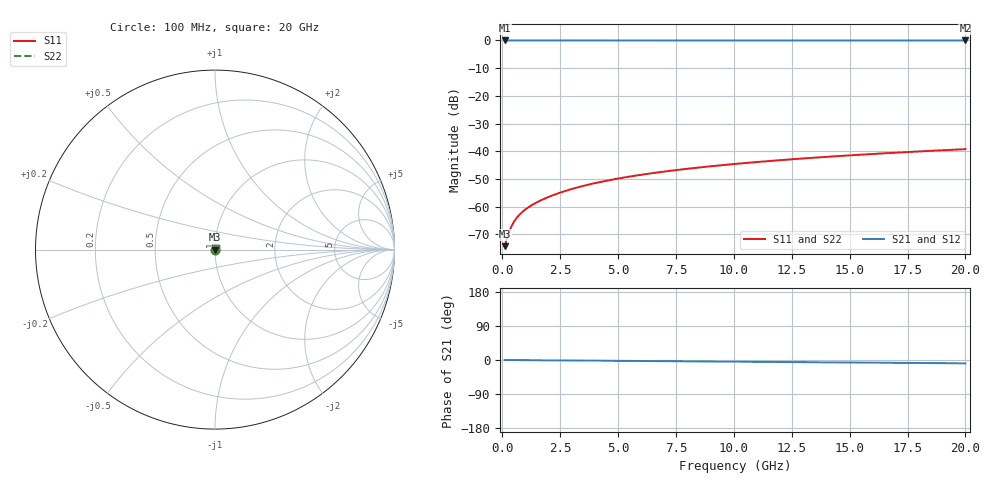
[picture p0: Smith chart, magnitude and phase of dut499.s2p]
! Touchstone file exported from HFSS 2026.1.0
!  File:  C:/ffzhzh/LocalFiles/Ansys_Project_Files/temp_train_TSV_499_1783023004_55676.aedt
!  Generated:  04:11:53 AM Jul  3, 2026
!  Design:  TSV
!  Project:  temp_train_TSV_499_1783023004_55676
! Variables:
!  h_bsmrdl = 2um
!  h_ox = 20um
!  h_rdl = 5um
!  h_sub = 89.96um
!  h_tmrdl = 5um
!  h_tsv = 89.96um
!  h_via = 3um
!  l_bsmrdl = 300um
!  l_sub = 418.12um
!  l_tmrdl = 200um
!  m_sub = 200um
!  pitch = 39.94um
!  r_tsv = 9.06um
!  s_tmrdl = 10um
!  w_bsmrdl = 18um
!  w_sub = 500um
!  w_tmrdl = 12um
!  x_tsv_center1 = 206um
!  x_tsv_center2 = 524um
!  x_tsv_center3 = 736um
!  x_tsv_center4 = 1054um
!  x_tsv_center5 = 1266um
!  x_tsv_center6 = 1584um
# GHz S MA R 50.000000
! Terminal data exported
! Port[1] = TSV1_1_T1
! Port[2] = TSV1_1_T2
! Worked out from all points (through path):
!   200 points, 100 MHz to 20 GHz, reference 50 ohm
!   highest |S21| = 0.00 dB at 100 MHz (marker M1); lowest = 0.0 dB at 20 GHz (marker M2)
!   group delay of S21, straight-line fit = 1.22 ps
!   lowest |S11| = -74.3 dB at 100 MHz (marker M3), VSWR 1.00, Z = 50 + j0.0103 ohm
!   |S11| at or under -10 dB: start of sweep to end of sweep
!   |S22| runs from -74.3 to -39.3 dB; largest |S21 - S12| = 3e-15
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0.1  0.000193 32.1  0.9998 -0.0  0.9998 -0.0  0.000193 32.1
! Gamma 0 0 0 0
! Port Impedance 50 0 50 0
0.2  0.0002685 48.9  0.9998 -0.1  0.9998 -0.1  0.0002685 48.9
0.3  0.000356 56.5  0.9998 -0.1  0.9998 -0.1  0.000356 56.5
0.4  0.000444 60.2  0.9998 -0.2  0.9998 -0.2  0.000444 60.2
0.5  0.0005287 62.1  0.9998 -0.2  0.9998 -0.2  0.0005287 62.1
0.6  0.0006088 63.2  0.9997 -0.3  0.9997 -0.3  0.0006088 63.2
0.7  0.0006845 64.0  0.9997 -0.3  0.9997 -0.3  0.0006845 64.0
0.8  0.0007562 64.5  0.9997 -0.4  0.9997 -0.4  0.0007562 64.5
1  0.0008906 65.5  0.9996 -0.5  0.9996 -0.5  0.0008906 65.5
1.4  0.001139 67.2  0.9996 -0.6  0.9996 -0.6  0.001139 67.2
1.7  0.001317 68.5  0.9995 -0.8  0.9995 -0.8  0.001317 68.5
2  0.001493 69.6  0.9995 -0.9  0.9995 -0.9  0.001493 69.6
2.7  0.001902 71.5  0.9994 -1.2  0.9994 -1.2  0.001902 71.5
3.5  0.002365 72.8  0.9994 -1.6  0.9994 -1.6  0.002365 72.8
4.2  0.002763 73.5  0.9993 -1.9  0.9993 -1.9  0.002763 73.5
5  0.003209 74.0  0.9992 -2.2  0.9992 -2.2  0.003209 74.0
6.8  0.004186 74.6  0.9991 -3.0  0.9991 -3.0  0.004186 74.6
8.3  0.00498 74.8  0.999 -3.7  0.999 -3.7  0.00498 74.8
10.1  0.005917 74.9  0.9989 -4.5  0.9989 -4.5  0.005917 74.9
13.4  0.007608 74.6  0.9987 -5.9  0.9987 -5.9  0.007608 74.6
16.7  0.009268 73.9  0.9986 -7.4  0.9986 -7.4  0.009268 73.9
20  0.01089 73.0  0.9984 -8.8  0.9984 -8.8  0.01089 73.0
